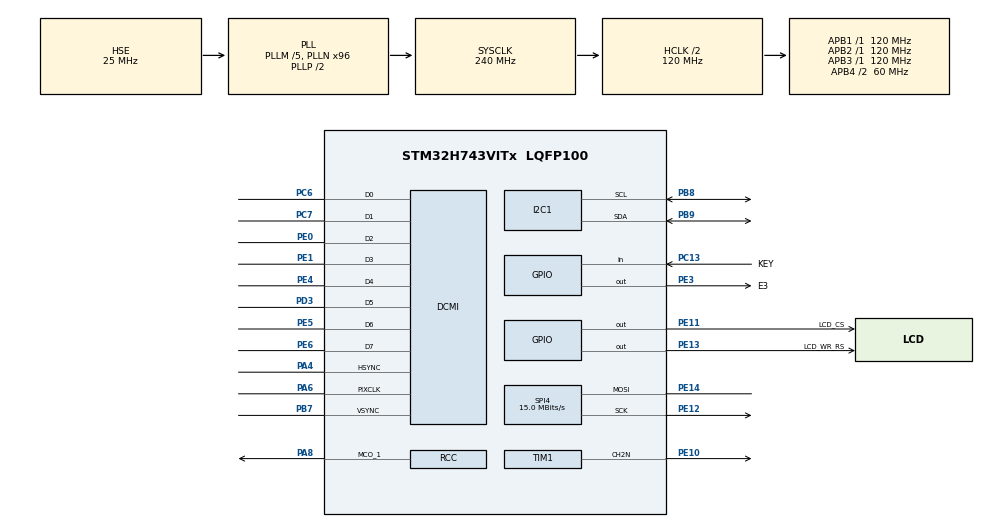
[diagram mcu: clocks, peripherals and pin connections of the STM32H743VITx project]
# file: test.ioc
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DCMI.LineSelectMode=DCMI_LSM_ALL
DCMI.PCKPolarity=DCMI_PCKPOLARITY_RISING
Dma.DCMI.0.Direction=DMA_PERIPH_TO_MEMORY
Dma.DCMI.0.EventEnable=DISABLE
Dma.DCMI.0.FIFOMode=DMA_FIFOMODE_DISABLE
Dma.DCMI.0.Instance=DMA1_Stream0
Dma.DCMI.0.MemDataAlignment=DMA_MDATAALIGN_WORD
Dma.DCMI.0.MemInc=DMA_MINC_ENABLE
Dma.DCMI.0.Mode=DMA_CIRCULAR
Dma.DCMI.0.PeriphDataAlignment=DMA_PDATAALIGN_WORD
Dma.DCMI.0.PeriphInc=DMA_PINC_DISABLE
Dma.DCMI.0.Polarity=HAL_DMAMUX_REQ_GEN_RISING
Dma.DCMI.0.Priority=DMA_PRIORITY_LOW
Dma.DCMI.0.RequestNumber=1
Dma.DCMI.0.SignalID=NONE
Dma.DCMI.0.SyncEnable=DISABLE
Dma.DCMI.0.SyncPolarity=HAL_DMAMUX_SYNC_NO_EVENT
Dma.DCMI.0.SyncRequestNumber=1
Dma.DCMI.0.SyncSignalID=NONE
Dma.Request0=DCMI
I2C1.I2C_Fall_Time=10
I2C1.I2C_Rise_Time=100
I2C1.Timing=0x40805E8A
Mcu.Family=STM32H7
Mcu.Name=STM32H743VITx
Mcu.Package=LQFP100
NVIC.DCMI_IRQn=true\:0\:0\:false\:false\:true\:true\:true\:true
NVIC.DMA1_Stream0_IRQn=true\:0\:0\:false\:false\:true\:false\:true\:true
NVIC.PriorityGroup=NVIC_PRIORITYGROUP_4
NVIC.TIM16_IRQn=true\:2\:0\:true\:false\:true\:true\:true\:true
PA4.Mode=Slave_8_bits_External_Synchro
PA4.Signal=DCMI_HSYNC
PA6.Mode=Slave_8_bits_External_Synchro
PA6.Signal=DCMI_PIXCLK
PA8.GPIO_Speed=GPIO_SPEED_FREQ_VERY_HIGH
PA8.Mode=Clock-out-1
PA8.Signal=RCC_MCO_1
PB7.Mode=Slave_8_bits_External_Synchro
PB7.Signal=DCMI_VSYNC
PB8.GPIO_Pu=GPIO_PULLUP
PB8.Mode=I2C
PB8.Signal=I2C1_SCL
PB9.GPIO_Pu=GPIO_PULLUP
PB9.Mode=I2C
PB9.Signal=I2C1_SDA
PC13.GPIO_Label=KEY
PC13.GPIO_PuPd=GPIO_PULLDOWN
PC13.Signal=GPIO_Input
PC14-OSC32_IN\ (OSC32_IN).Mode=LSE-External-Oscillator
PC14-OSC32_IN\ (OSC32_IN).Signal=RCC_OSC32_IN
PC15-OSC32_OUT\ (OSC32_OUT).Mode=LSE-External-Oscillator
PC15-OSC32_OUT\ (OSC32_OUT).Signal=RCC_OSC32_OUT
PC6.Mode=Slave_8_bits_External_Synchro
PC6.Signal=DCMI_D0
PC7.Mode=Slave_8_bits_External_Synchro
PC7.Signal=DCMI_D1
PD3.Mode=Slave_8_bits_External_Synchro
PD3.Signal=DCMI_D5
PE0.Mode=Slave_8_bits_External_Synchro
PE0.Signal=DCMI_D2
PE1.Mode=Slave_8_bits_External_Synchro
PE1.Signal=DCMI_D3
PE10.Mode=PWM Generation2 CH2N
PE10.Signal=TIM1_CH2N
PE11.GPIO_Label=LCD_CS
PE11.GPIO_Speed=GPIO_SPEED_FREQ_VERY_HIGH
PE11.PinState=GPIO_PIN_SET
PE11.Signal=GPIO_Output
PE12.GPIO_Speed=GPIO_SPEED_FREQ_HIGH
PE12.Mode=Simplex_Bidirectional_Master
PE12.Signal=SPI4_SCK
PE13.GPIO_Label=LCD_WR_RS
PE13.GPIO_Speed=GPIO_SPEED_FREQ_VERY_HIGH
PE13.PinState=GPIO_PIN_SET
PE13.Signal=GPIO_Output
PE14.GPIO_Speed=GPIO_SPEED_FREQ_HIGH
PE14.Mode=Simplex_Bidirectional_Master
PE14.Signal=SPI4_MOSI
PE3.GPIO_Label=E3
PE3.Signal=GPIO_Output
PE4.Mode=Slave_8_bits_External_Synchro
PE4.Signal=DCMI_D4
PE5.Mode=Slave_8_bits_External_Synchro
PE5.Signal=DCMI_D6
PE6.Mode=Slave_8_bits_External_Synchro
PE6.Signal=DCMI_D7
PH0-OSC_IN\ (PH0).Mode=HSE-External-Oscillator
PH0-OSC_IN\ (PH0).Signal=RCC_OSC_IN
PH1-OSC_OUT\ (PH1).Mode=HSE-External-Oscillator
PH1-OSC_OUT\ (PH1).Signal=RCC_OSC_OUT
ProjectManager.HeapSize=0x200
ProjectManager.StackSize=0x400
ProjectManager.TargetToolchain=STM32CubeIDE
RCC.ADCFreq_Value=50390625
RCC.APB1Freq_Value=120000000
RCC.APB2Freq_Value=120000000
RCC.APB3Freq_Value=120000000
RCC.APB4Freq_Value=60000000
RCC.CortexFreq_Value=240000000
RCC.D3PPRE=RCC_APB4_DIV2
RCC.DIVM1=5
RCC.DIVN1=96
RCC.HCLKFreq_Value=120000000
RCC.HPRE=RCC_HCLK_DIV2
RCC.PLLFRACN=0
RCC.PLLSourceVirtual=RCC_PLLSOURCE_HSE
RCC.PWR_Regulator_Voltage_Scale=PWR_REGULATOR_VOLTAGE_SCALE0
RCC.RCC_MCO1Source=RCC_MCO1SOURCE_HSI48
RCC.RCC_MCODiv1=RCC_MCODIV_4
RCC.SYSCLKFreq_VALUE=240000000
RCC.SYSCLKSource=RCC_SYSCLKSOURCE_PLLCLK
RCC.USBFreq_Value=240000000
SPI4.BaudRatePrescaler=SPI_BAUDRATEPRESCALER_8
SPI4.CalculateBaudRate=15.0 MBits/s
SPI4.DataSize=SPI_DATASIZE_8BIT
SPI4.Direction=SPI_DIRECTION_1LINE
SPI4.Mode=SPI_MODE_MASTER
SPI4.VirtualType=VM_MASTER
TIM1.Channel-PWM\ Generation2\ CH2N=TIM_CHANNEL_2
TIM1.OCNPolarity_2=TIM_OCNPOLARITY_LOW
TIM1.Period=1000-1
TIM1.Prescaler=12-1
TIM16.Period=100-1
TIM16.Prescaler=120-1
VP_MEMORYMAP_VS_MEMORYMAP.Mode=CurAppReg
VP_TIM16_VS_ClockSourceINT.Mode=Enable_Timer
board=custom

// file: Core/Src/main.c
/* USER CODE BEGIN Header */
/**
  ******************************************************************************
  * @file           : main.c
  * @brief          : Main program body
  ******************************************************************************
  * @attention
  *
  * Copyright (c) 2025 STMicroelectronics.
  * All rights reserved.
  *
  * This software is licensed under terms that can be found in the LICENSE file
  * in the root directory of this software component.
  * If no LICENSE file comes with this software, it is provided AS-IS.
  *
  ******************************************************************************
  */
/* USER CODE END Header */
#include "main.h"

/* USER CODE BEGIN Includes */
#include "camera.h"
#include "lcd.h"
/* USER CODE END Includes */

DCMI_HandleTypeDef hdcmi;
DMA_HandleTypeDef hdma_dcmi;

I2C_HandleTypeDef hi2c1;

SPI_HandleTypeDef hspi4;

TIM_HandleTypeDef htim1;
TIM_HandleTypeDef htim16;

void SystemClock_Config(void);
static void MX_GPIO_Init(void);
static void MX_DMA_Init(void);
static void MX_SPI4_Init(void);
static void MX_TIM1_Init(void);
static void MX_DCMI_Init(void);
static void MX_I2C1_Init(void);
static void MX_TIM16_Init(void);
/* USER CODE BEGIN PFP */
// QQVGA
#define FrameWidth 160
#define FrameHeight 120
uint16_t pic[FrameWidth][FrameHeight];
uint32_t DCMI_FrameIsReady;
uint32_t Camera_FPS=0;
/* USER CODE END PFP */

/* USER CODE BEGIN 0 */
static void LED_Blink(uint32_t Hdelay,uint32_t Ldelay)
{
	HAL_GPIO_WritePin(E3_GPIO_Port,E3_Pin,GPIO_PIN_SET);
	HAL_Delay(Hdelay - 1);
	HAL_GPIO_WritePin(E3_GPIO_Port,E3_Pin,GPIO_PIN_RESET);
	HAL_Delay(Ldelay-1);
}

/* USER CODE END 0 */

int main(void)
{

  /* MCU Configuration--------------------------------------------------------*/

  /* Reset of all peripherals, Initializes the Flash interface and the Systick. */
  HAL_Init();

  /* Configure the system clock */
  SystemClock_Config();

  /* Initialize all configured peripherals */
  MX_GPIO_Init();
  MX_DMA_Init();
  MX_SPI4_Init();
  MX_TIM1_Init();
  MX_DCMI_Init();
  MX_I2C1_Init();
  MX_TIM16_Init();
  /* USER CODE BEGIN 2 */
  LCD_Init();

  Camera_Init_Device(&hi2c1, FRAMESIZE_QQVGA);
  HAL_DCMI_Start_DMA(&hdcmi, DCMI_MODE_CONTINUOUS, (uint32_t)&pic, FrameWidth * FrameHeight * 2 / 4);
  /* USER CODE END 2 */

  /* Infinite loop */
  /* USER CODE BEGIN WHILE */
  uint8_t text[20];
  while (1)
  {
    /* USER CODE END WHILE */;

    /* USER CODE BEGIN 3 */

 	  if (DCMI_FrameIsReady)
	      {
	        DCMI_FrameIsReady = 0;
 			ST7735_FillRGBRect(&st7735_pObj,0,0,(uint8_t *)&pic[20][0], ST7735Ctx.Width, 80);
  			sprintf((char *)&text,"%dFPS",Camera_FPS);
  			LCD_ShowString(5,5,60,16,text);
	      }

//	  sprintf((char *)&text,"Bri: %d",(i+=10)<<2);
//	  LCD_ShowString(0, 12, 160, 16, text);
	  LED_Blink(1,1);

  }
  /* USER CODE END 3 */
}

void SystemClock_Config(void)
{
  RCC_OscInitTypeDef RCC_OscInitStruct = {0};
  RCC_ClkInitTypeDef RCC_ClkInitStruct = {0};

  /** Supply configuration update enable
  */
  HAL_PWREx_ConfigSupply(PWR_LDO_SUPPLY);

  /** Configure the main internal regulator output voltage
  */
  __HAL_PWR_VOLTAGESCALING_CONFIG(PWR_REGULATOR_VOLTAGE_SCALE0);

  while(!__HAL_PWR_GET_FLAG(PWR_FLAG_VOSRDY)) {}

  /** Initializes the RCC Oscillators according to the specified parameters
  * in the RCC_OscInitTypeDef structure.
  */
  RCC_OscInitStruct.OscillatorType = RCC_OSCILLATORTYPE_HSI48|RCC_OSCILLATORTYPE_HSE;
  RCC_OscInitStruct.HSEState = RCC_HSE_ON;
  RCC_OscInitStruct.HSI48State = RCC_HSI48_ON;
  RCC_OscInitStruct.PLL.PLLState = RCC_PLL_ON;
  RCC_OscInitStruct.PLL.PLLSource = RCC_PLLSOURCE_HSE;
  RCC_OscInitStruct.PLL.PLLM = 5;
  RCC_OscInitStruct.PLL.PLLN = 96;
  RCC_OscInitStruct.PLL.PLLP = 2;
  RCC_OscInitStruct.PLL.PLLQ = 2;
  RCC_OscInitStruct.PLL.PLLR = 2;
  RCC_OscInitStruct.PLL.PLLRGE = RCC_PLL1VCIRANGE_2;
  RCC_OscInitStruct.PLL.PLLVCOSEL = RCC_PLL1VCOWIDE;
  RCC_OscInitStruct.PLL.PLLFRACN = 0;
  if (HAL_RCC_OscConfig(&RCC_OscInitStruct) != HAL_OK)
  {
    Error_Handler();
  }

  /** Initializes the CPU, AHB and APB buses clocks
  */
  RCC_ClkInitStruct.ClockType = RCC_CLOCKTYPE_HCLK|RCC_CLOCKTYPE_SYSCLK
                              |RCC_CLOCKTYPE_PCLK1|RCC_CLOCKTYPE_PCLK2
                              |RCC_CLOCKTYPE_D3PCLK1|RCC_CLOCKTYPE_D1PCLK1;
  RCC_ClkInitStruct.SYSCLKSource = RCC_SYSCLKSOURCE_PLLCLK;
  RCC_ClkInitStruct.SYSCLKDivider = RCC_SYSCLK_DIV1;
  RCC_ClkInitStruct.AHBCLKDivider = RCC_HCLK_DIV2;
  RCC_ClkInitStruct.APB3CLKDivider = RCC_APB3_DIV1;
  RCC_ClkInitStruct.APB1CLKDivider = RCC_APB1_DIV1;
  RCC_ClkInitStruct.APB2CLKDivider = RCC_APB2_DIV1;
  RCC_ClkInitStruct.APB4CLKDivider = RCC_APB4_DIV2;

  if (HAL_RCC_ClockConfig(&RCC_ClkInitStruct, FLASH_LATENCY_1) != HAL_OK)
  {
    Error_Handler();
  }
  HAL_RCC_MCOConfig(RCC_MCO1, RCC_MCO1SOURCE_HSI48, RCC_MCODIV_4);
}

static void MX_DCMI_Init(void)
{

  hdcmi.Instance = DCMI;
  hdcmi.Init.SynchroMode = DCMI_SYNCHRO_HARDWARE;
  hdcmi.Init.PCKPolarity = DCMI_PCKPOLARITY_RISING;
  hdcmi.Init.VSPolarity = DCMI_VSPOLARITY_LOW;
  hdcmi.Init.HSPolarity = DCMI_HSPOLARITY_LOW;
  hdcmi.Init.CaptureRate = DCMI_CR_ALL_FRAME;
  hdcmi.Init.ExtendedDataMode = DCMI_EXTEND_DATA_8B;
  hdcmi.Init.JPEGMode = DCMI_JPEG_DISABLE;
  hdcmi.Init.ByteSelectMode = DCMI_BSM_ALL;
  hdcmi.Init.ByteSelectStart = DCMI_OEBS_ODD;
  hdcmi.Init.LineSelectMode = DCMI_LSM_ALL;
  hdcmi.Init.LineSelectStart = DCMI_OELS_ODD;
  if (HAL_DCMI_Init(&hdcmi) != HAL_OK)
  {
    Error_Handler();
  }

}

static void MX_I2C1_Init(void)
{

  hi2c1.Instance = I2C1;
  hi2c1.Init.Timing = 0x40805E8A;
  hi2c1.Init.OwnAddress1 = 0;
  hi2c1.Init.AddressingMode = I2C_ADDRESSINGMODE_7BIT;
  hi2c1.Init.DualAddressMode = I2C_DUALADDRESS_DISABLE;
  hi2c1.Init.OwnAddress2 = 0;
  hi2c1.Init.OwnAddress2Masks = I2C_OA2_NOMASK;
  hi2c1.Init.GeneralCallMode = I2C_GENERALCALL_DISABLE;
  hi2c1.Init.NoStretchMode = I2C_NOSTRETCH_DISABLE;
  if (HAL_I2C_Init(&hi2c1) != HAL_OK)
  {
    Error_Handler();
  }

  /** Configure Analogue filter
  */
  if (HAL_I2CEx_ConfigAnalogFilter(&hi2c1, I2C_ANALOGFILTER_ENABLE) != HAL_OK)
  {
    Error_Handler();
  }

  /** Configure Digital filter
  */
  if (HAL_I2CEx_ConfigDigitalFilter(&hi2c1, 0) != HAL_OK)
  {
    Error_Handler();
  }

}

static void MX_SPI4_Init(void)
{

  /* SPI4 parameter configuration*/
  hspi4.Instance = SPI4;
  hspi4.Init.Mode = SPI_MODE_MASTER;
  hspi4.Init.Direction = SPI_DIRECTION_1LINE;
  hspi4.Init.DataSize = SPI_DATASIZE_8BIT;
  hspi4.Init.CLKPolarity = SPI_POLARITY_LOW;
  hspi4.Init.CLKPhase = SPI_PHASE_1EDGE;
  hspi4.Init.NSS = SPI_NSS_SOFT;
  hspi4.Init.BaudRatePrescaler = SPI_BAUDRATEPRESCALER_8;
  hspi4.Init.FirstBit = SPI_FIRSTBIT_MSB;
  hspi4.Init.TIMode = SPI_TIMODE_DISABLE;
  hspi4.Init.CRCCalculation = SPI_CRCCALCULATION_DISABLE;
  hspi4.Init.CRCPolynomial = 0x0;
  hspi4.Init.NSSPMode = SPI_NSS_PULSE_ENABLE;
  hspi4.Init.NSSPolarity = SPI_NSS_POLARITY_LOW;
  hspi4.Init.FifoThreshold = SPI_FIFO_THRESHOLD_01DATA;
  hspi4.Init.TxCRCInitializationPattern = SPI_CRC_INITIALIZATION_ALL_ZERO_PATTERN;
  hspi4.Init.RxCRCInitializationPattern = SPI_CRC_INITIALIZATION_ALL_ZERO_PATTERN;
  hspi4.Init.MasterSSIdleness = SPI_MASTER_SS_IDLENESS_00CYCLE;
  hspi4.Init.MasterInterDataIdleness = SPI_MASTER_INTERDATA_IDLENESS_00CYCLE;
  hspi4.Init.MasterReceiverAutoSusp = SPI_MASTER_RX_AUTOSUSP_DISABLE;
  hspi4.Init.MasterKeepIOState = SPI_MASTER_KEEP_IO_STATE_DISABLE;
  hspi4.Init.IOSwap = SPI_IO_SWAP_DISABLE;
  if (HAL_SPI_Init(&hspi4) != HAL_OK)
  {
    Error_Handler();
  }

}

static void MX_TIM1_Init(void)
{

  TIM_MasterConfigTypeDef sMasterConfig = {0};
  TIM_OC_InitTypeDef sConfigOC = {0};
  TIM_BreakDeadTimeConfigTypeDef sBreakDeadTimeConfig = {0};

  htim1.Instance = TIM1;
  htim1.Init.Prescaler = 12-1;
  htim1.Init.CounterMode = TIM_COUNTERMODE_UP;
  htim1.Init.Period = 1000-1;
  htim1.Init.ClockDivision = TIM_CLOCKDIVISION_DIV1;
  htim1.Init.RepetitionCounter = 0;
  htim1.Init.AutoReloadPreload = TIM_AUTORELOAD_PRELOAD_DISABLE;
  if (HAL_TIM_PWM_Init(&htim1) != HAL_OK)
  {
    Error_Handler();
  }
  sMasterConfig.MasterOutputTrigger = TIM_TRGO_RESET;
  sMasterConfig.MasterOutputTrigger2 = TIM_TRGO2_RESET;
  sMasterConfig.MasterSlaveMode = TIM_MASTERSLAVEMODE_DISABLE;
  if (HAL_TIMEx_MasterConfigSynchronization(&htim1, &sMasterConfig) != HAL_OK)
  {
    Error_Handler();
  }
  sConfigOC.OCMode = TIM_OCMODE_PWM1;
  sConfigOC.Pulse = 0;
  sConfigOC.OCPolarity = TIM_OCPOLARITY_HIGH;
  sConfigOC.OCNPolarity = TIM_OCNPOLARITY_LOW;
  sConfigOC.OCFastMode = TIM_OCFAST_DISABLE;
  sConfigOC.OCIdleState = TIM_OCIDLESTATE_RESET;
  sConfigOC.OCNIdleState = TIM_OCNIDLESTATE_RESET;
  if (HAL_TIM_PWM_ConfigChannel(&htim1, &sConfigOC, TIM_CHANNEL_2) != HAL_OK)
  {
    Error_Handler();
  }
  sBreakDeadTimeConfig.OffStateRunMode = TIM_OSSR_DISABLE;
  sBreakDeadTimeConfig.OffStateIDLEMode = TIM_OSSI_DISABLE;
  sBreakDeadTimeConfig.LockLevel = TIM_LOCKLEVEL_OFF;
  sBreakDeadTimeConfig.DeadTime = 0;
  sBreakDeadTimeConfig.BreakState = TIM_BREAK_DISABLE;
  sBreakDeadTimeConfig.BreakPolarity = TIM_BREAKPOLARITY_HIGH;
  sBreakDeadTimeConfig.BreakFilter = 0;
  sBreakDeadTimeConfig.Break2State = TIM_BREAK2_DISABLE;
  sBreakDeadTimeConfig.Break2Polarity = TIM_BREAK2POLARITY_HIGH;
  sBreakDeadTimeConfig.Break2Filter = 0;
  sBreakDeadTimeConfig.AutomaticOutput = TIM_AUTOMATICOUTPUT_DISABLE;
  if (HAL_TIMEx_ConfigBreakDeadTime(&htim1, &sBreakDeadTimeConfig) != HAL_OK)
  {
    Error_Handler();
  }
  HAL_TIM_MspPostInit(&htim1);

}

static void MX_TIM16_Init(void)
{

  htim16.Instance = TIM16;
  htim16.Init.Prescaler = 120-1;
  htim16.Init.CounterMode = TIM_COUNTERMODE_UP;
  htim16.Init.Period = 100-1;
  htim16.Init.ClockDivision = TIM_CLOCKDIVISION_DIV1;
  htim16.Init.RepetitionCounter = 0;
  htim16.Init.AutoReloadPreload = TIM_AUTORELOAD_PRELOAD_DISABLE;
  if (HAL_TIM_Base_Init(&htim16) != HAL_OK)
  {
    Error_Handler();
  }

}

static void MX_DMA_Init(void)
{

  /* DMA controller clock enable */
  __HAL_RCC_DMA1_CLK_ENABLE();

  /* DMA interrupt init */
  /* DMA1_Stream0_IRQn interrupt configuration */
  HAL_NVIC_SetPriority(DMA1_Stream0_IRQn, 0, 0);
  HAL_NVIC_EnableIRQ(DMA1_Stream0_IRQn);

}

static void MX_GPIO_Init(void)
{
  GPIO_InitTypeDef GPIO_InitStruct = {0};

  /* GPIO Ports Clock Enable */
  __HAL_RCC_GPIOE_CLK_ENABLE();
  __HAL_RCC_GPIOC_CLK_ENABLE();
  __HAL_RCC_GPIOH_CLK_ENABLE();
  __HAL_RCC_GPIOA_CLK_ENABLE();
  __HAL_RCC_GPIOD_CLK_ENABLE();
  __HAL_RCC_GPIOB_CLK_ENABLE();

  /*Configure GPIO pin Output Level */
  HAL_GPIO_WritePin(E3_GPIO_Port, E3_Pin, GPIO_PIN_RESET);

  /*Configure GPIO pin Output Level */
  HAL_GPIO_WritePin(GPIOE, LCD_CS_Pin|LCD_WR_RS_Pin, GPIO_PIN_SET);

  /*Configure GPIO pin : E3_Pin */
  GPIO_InitStruct.Pin = E3_Pin;
  GPIO_InitStruct.Mode = GPIO_MODE_OUTPUT_PP;
  GPIO_InitStruct.Pull = GPIO_NOPULL;
  GPIO_InitStruct.Speed = GPIO_SPEED_FREQ_LOW;
  HAL_GPIO_Init(E3_GPIO_Port, &GPIO_InitStruct);

  /*Configure GPIO pin : KEY_Pin */
  GPIO_InitStruct.Pin = KEY_Pin;
  GPIO_InitStruct.Mode = GPIO_MODE_INPUT;
  GPIO_InitStruct.Pull = GPIO_PULLDOWN;
  HAL_GPIO_Init(KEY_GPIO_Port, &GPIO_InitStruct);

  /*Configure GPIO pins : LCD_CS_Pin LCD_WR_RS_Pin */
  GPIO_InitStruct.Pin = LCD_CS_Pin|LCD_WR_RS_Pin;
  GPIO_InitStruct.Mode = GPIO_MODE_OUTPUT_PP;
  GPIO_InitStruct.Pull = GPIO_NOPULL;
  GPIO_InitStruct.Speed = GPIO_SPEED_FREQ_VERY_HIGH;
  HAL_GPIO_Init(GPIOE, &GPIO_InitStruct);

  /*Configure GPIO pin : PA8 */
  GPIO_InitStruct.Pin = GPIO_PIN_8;
  GPIO_InitStruct.Mode = GPIO_MODE_AF_PP;
  GPIO_InitStruct.Pull = GPIO_NOPULL;
  GPIO_InitStruct.Speed = GPIO_SPEED_FREQ_VERY_HIGH;
  GPIO_InitStruct.Alternate = GPIO_AF0_MCO;
  HAL_GPIO_Init(GPIOA, &GPIO_InitStruct);

}

/* USER CODE BEGIN 4 */

void HAL_DCMI_FrameEventCallback(DCMI_HandleTypeDef *hdcmi)
{
	static uint32_t count = 0,tick = 0;

	if(HAL_GetTick() - tick >= 1000)
	{
		tick = HAL_GetTick();
		Camera_FPS = count;
		count = 0;
	}
	count ++;

  DCMI_FrameIsReady = 1;
}

/* USER CODE END 4 */

void Error_Handler(void)
{
  __disable_irq();
  while (1)
  {
  }
}
